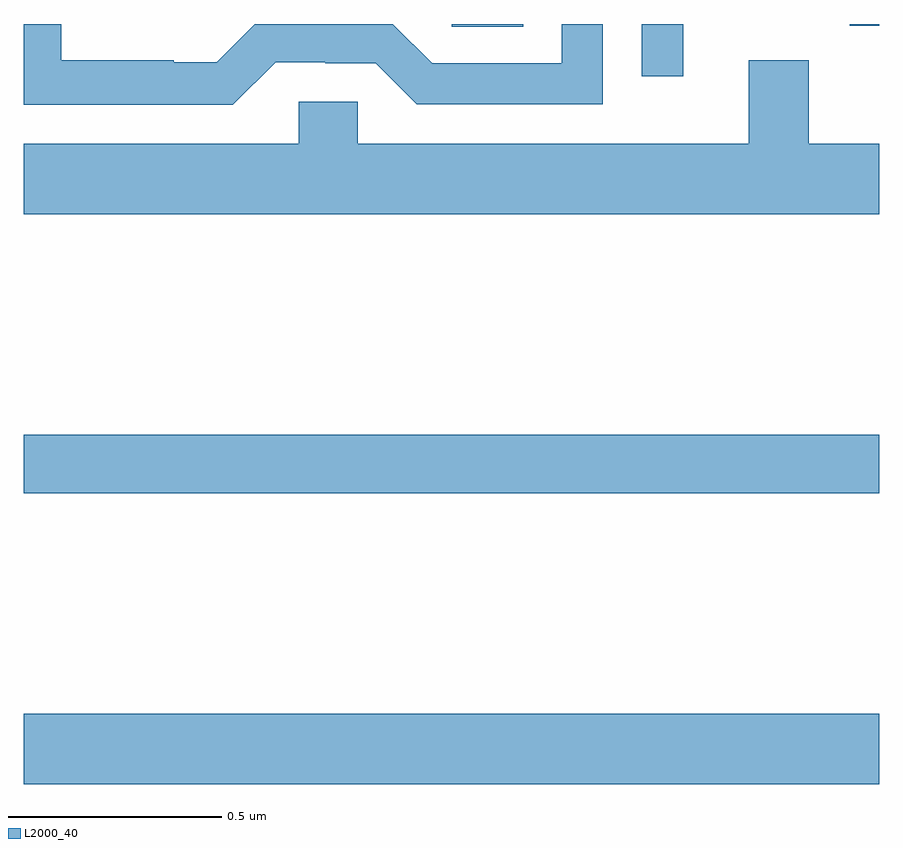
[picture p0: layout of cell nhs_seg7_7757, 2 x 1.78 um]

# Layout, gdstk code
import gdstk
lib = gdstk.Library(unit=1e-6, precision=1e-09)
def R(c, l, rs):  # rectangles x0, y0, x1, y1
    for r in rs: c.add(gdstk.rectangle(r[:2], r[2:], *l))
def P(c, l, *ps):  # polygons
    for p in ps: c.add(gdstk.Polygon(p, *l))
L2000_40 = (2000, 40)

nhs_seg7_7757 = lib.new_cell('nhs_seg7_7757')
R(nhs_seg7_7757, L2000_40, [(215,1059.224,217,1059.388), (215,1059.904,217,1060.04), (216.445,1060.878,216.541,1061), (216,1060.993,216.168,1061), (216.931,1060.996,217,1061)])
P(nhs_seg7_7757, L2000_40, [(215.589,1060.911),(215.705,1060.911),(215.705,1060.908),(215.823,1060.908),(215.919,1060.812),(216.354,1060.812),(216.354,1061),(216.258,1061),(216.258,1060.908),(215.955,1060.908),(215.863,1061),(215.54,1061),(215.451,1060.911),(215.351,1060.911),(215.351,1060.915),(215.088,1060.915),(215.088,1061),(215,1061),(215,1060.811),(215.489,1060.811)],
  [(217,1060.72),(216.835,1060.72),(216.835,1060.915),(216.695,1060.915),(216.695,1060.72),(215.781,1060.72),(215.781,1060.818),(215.643,1060.818),(215.643,1060.72),(215,1060.72),(215,1060.556),(217,1060.556)])

lib.write_gds('nhs_seg7_7757.gds')
